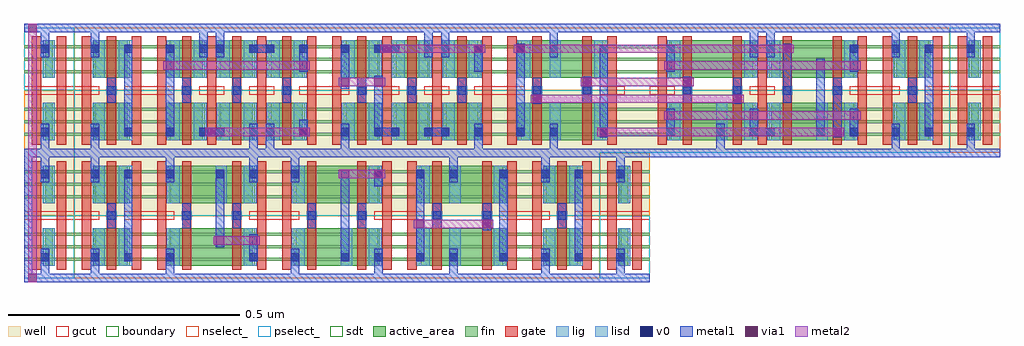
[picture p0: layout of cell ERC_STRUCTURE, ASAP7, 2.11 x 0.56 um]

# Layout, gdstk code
import gdstk
lib = gdstk.Library(unit=1e-6, precision=2.5e-10)
def R(c, l, rs):  # rectangles x0, y0, x1, y1
    for r in rs: c.add(gdstk.rectangle(r[:2], r[2:], *l))
def A(c, l, x, y, w, h, nx, ny, dx, dy):  # array of equal rectangles
    R(c, l, [(x+i*dx, y+j*dy, x+i*dx+w, y+j*dy+h) for i in range(nx) for j in range(ny)])
well = (1, 0)
fin = (2, 0)
gate = (7, 0)
gcut = (10, 0)
active_area = (11, 0)
nselect_ = (12, 0)
pselect_ = (13, 0)
lig = (16, 0)
lisd = (17, 0)
v0 = (18, 0)
metal1 = (19, 0)
metal2 = (20, 0)
via1 = (21, 0)
sdt = (88, 0)
boundary = (100, 0)

tap_a7s_75t_r = lib.new_cell('TAP_A7S_75t_R')
R(tap_a7s_75t_r, well, [(0,0.135,0.108,0.27)])
A(tap_a7s_75t_r, fin, 0, 0.037, 0.108, 0.007, 1, 3, 0, 0.027)
A(tap_a7s_75t_r, fin, 0, 0.172, 0.108, 0.007, 1, 3, 0, 0.027)
R(tap_a7s_75t_r, gate, [(0.017,0.018,0.037,0.252), (0.071,0.018,0.091,0.252)])
R(tap_a7s_75t_r, gcut, [(0,0.126,0.054,0.144), (0.054,0.126,0.108,0.144)])
R(tap_a7s_75t_r, active_area, [(0.046,0.027,0.062,0.108), (0.046,0.162,0.062,0.243)])
R(tap_a7s_75t_r, nselect_, [(0,0.135,0.108,0.27)])
R(tap_a7s_75t_r, pselect_, [(0,0,0.108,0.135)])
R(tap_a7s_75t_r, lisd, [(0.04,0.027,0.066,0.108), (0.04,0.162,0.066,0.243)])
R(tap_a7s_75t_r, v0, [(0.036,0.036,0.054,0.054), (0.036,0.216,0.054,0.234)])
R(tap_a7s_75t_r, metal1, [(0,-0.009,0.108,0.009), (0.036,0.009,0.054,0.063), (0.036,0.207,0.054,0.261), (0,0.261,0.108,0.279)])
R(tap_a7s_75t_r, sdt, [(0.042,0.027,0.066,0.108), (0.042,0.162,0.066,0.243)])
R(tap_a7s_75t_r, boundary, [(0,0,0.108,0.27)])
tap_a7s_75t_r.add(gdstk.Label('VSS', (0.027,0), layer=19, texttype=251))
tap_a7s_75t_r.add(gdstk.Label('VDD', (0.027,0.27), layer=19, texttype=251))

invx1_a7s_75t_r = lib.new_cell('INVx1_A7S_75t_R')
R(invx1_a7s_75t_r, well, [(0,0.135,0.162,0.27)])
A(invx1_a7s_75t_r, fin, 0, 0.037, 0.162, 0.007, 1, 3, 0, 0.027)
A(invx1_a7s_75t_r, fin, 0, 0.172, 0.162, 0.007, 1, 3, 0, 0.027)
A(invx1_a7s_75t_r, gate, 0.017, 0.018, 0.02, 0.234, 3, 1, 0.054, 0)
R(invx1_a7s_75t_r, gcut, [(0,0.126,0.054,0.144), (0.108,0.126,0.162,0.144)])
R(invx1_a7s_75t_r, active_area, [(0.046,0.027,0.116,0.108), (0.046,0.162,0.116,0.243)])
R(invx1_a7s_75t_r, nselect_, [(0,0,0.162,0.135)])
R(invx1_a7s_75t_r, pselect_, [(0,0.135,0.162,0.27)])
R(invx1_a7s_75t_r, lig, [(0.07,0.126,0.092,0.144)])
R(invx1_a7s_75t_r, lisd, [(0.04,0.027,0.066,0.108), (0.096,0.027,0.126,0.108), (0.04,0.162,0.066,0.243), (0.096,0.162,0.126,0.243)])
R(invx1_a7s_75t_r, v0, [(0.036,0.036,0.054,0.054), (0.108,0.036,0.126,0.054), (0.072,0.126,0.09,0.144), (0.036,0.216,0.054,0.234), (0.108,0.216,0.126,0.234)])
R(invx1_a7s_75t_r, metal1, [(0,-0.009,0.162,0.009), (0.036,0.009,0.054,0.063), (0.108,0.036,0.126,0.234), (0.072,0.108,0.09,0.162), (0.036,0.207,0.054,0.261), (0,0.261,0.162,0.279)])
R(invx1_a7s_75t_r, sdt, [(0.042,0.027,0.066,0.108), (0.096,0.027,0.12,0.108), (0.042,0.162,0.066,0.243), (0.096,0.162,0.12,0.243)])
R(invx1_a7s_75t_r, boundary, [(0,0,0.162,0.27)])
invx1_a7s_75t_r.add(gdstk.Label('VSS', (0.018,0), layer=19, texttype=251))
invx1_a7s_75t_r.add(gdstk.Label('VDD', (0.018,0.27), layer=19, texttype=251))
invx1_a7s_75t_r.add(gdstk.Label('A', (0.081,0.135), layer=19, texttype=251))
invx1_a7s_75t_r.add(gdstk.Label('Y', (0.117,0.135), layer=19, texttype=251))

nand2x1_a7s_75t_r = lib.new_cell('NAND2x1_A7S_75t_R')
R(nand2x1_a7s_75t_r, well, [(0,0.135,0.27,0.27)])
A(nand2x1_a7s_75t_r, fin, 0, 0.037, 0.27, 0.007, 1, 3, 0, 0.027)
A(nand2x1_a7s_75t_r, fin, 0, 0.172, 0.27, 0.007, 1, 3, 0, 0.027)
R(nand2x1_a7s_75t_r, gate, [(0.017,0.018,0.037,0.252), (0.071,0.018,0.091,0.252), (0.179,0.018,0.199,0.252), (0.233,0.018,0.253,0.252)])
R(nand2x1_a7s_75t_r, gcut, [(0,0.126,0.054,0.144), (0.216,0.126,0.27,0.144)])
R(nand2x1_a7s_75t_r, active_area, [(0.046,0.027,0.224,0.108), (0.046,0.162,0.224,0.243)])
R(nand2x1_a7s_75t_r, nselect_, [(0,0,0.27,0.135)])
R(nand2x1_a7s_75t_r, pselect_, [(0,0.135,0.27,0.27)])
R(nand2x1_a7s_75t_r, lig, [(0.07,0.126,0.092,0.144), (0.178,0.126,0.2,0.144)])
R(nand2x1_a7s_75t_r, lisd, [(0.038,0.027,0.066,0.108), (0.204,0.027,0.232,0.108), (0.038,0.162,0.066,0.243), (0.144,0.162,0.168,0.243), (0.204,0.162,0.232,0.243)])
R(nand2x1_a7s_75t_r, v0, [(0.036,0.036,0.054,0.054), (0.216,0.036,0.234,0.054), (0.072,0.126,0.09,0.144), (0.18,0.126,0.198,0.144), (0.036,0.216,0.054,0.234), (0.144,0.216,0.162,0.234), (0.216,0.216,0.234,0.234)])
R(nand2x1_a7s_75t_r, metal1, [(0,-0.009,0.27,0.009), (0.036,0.009,0.054,0.063), (0.216,0.036,0.234,0.095), (0.144,0.067,0.162,0.234), (0.072,0.108,0.09,0.162), (0.18,0.108,0.198,0.162), (0.036,0.207,0.054,0.261), (0.216,0.207,0.234,0.261), (0,0.261,0.27,0.279)])
R(nand2x1_a7s_75t_r, metal2, [(0.139,0.072,0.239,0.09)])
R(nand2x1_a7s_75t_r, via1, [(0.144,0.072,0.162,0.09), (0.216,0.072,0.234,0.09)])
R(nand2x1_a7s_75t_r, sdt, [(0.042,0.027,0.066,0.108), (0.204,0.027,0.228,0.108), (0.042,0.162,0.066,0.243), (0.144,0.162,0.168,0.243), (0.204,0.162,0.228,0.243)])
R(nand2x1_a7s_75t_r, boundary, [(0,0,0.27,0.27)])
nand2x1_a7s_75t_r.add(gdstk.Label('VSS', (0.018,0), layer=19, texttype=251))
nand2x1_a7s_75t_r.add(gdstk.Label('VDD', (0.018,0.27), layer=19, texttype=251))
nand2x1_a7s_75t_r.add(gdstk.Label('A', (0.081,0.135), layer=19, texttype=251))
nand2x1_a7s_75t_r.add(gdstk.Label('B', (0.189,0.135), layer=19, texttype=251))
nand2x1_a7s_75t_r.add(gdstk.Label('Y', (0.225,0.08), layer=19, texttype=251))

nor2x1_a7s_75t_r = lib.new_cell('NOR2x1_A7S_75t_R')
R(nor2x1_a7s_75t_r, well, [(0,0.135,0.27,0.27)])
A(nor2x1_a7s_75t_r, fin, 0, 0.037, 0.27, 0.007, 1, 3, 0, 0.027)
A(nor2x1_a7s_75t_r, fin, 0, 0.172, 0.27, 0.007, 1, 3, 0, 0.027)
R(nor2x1_a7s_75t_r, gate, [(0.017,0.018,0.037,0.252), (0.071,0.018,0.091,0.252), (0.179,0.018,0.199,0.252), (0.233,0.018,0.253,0.252)])
R(nor2x1_a7s_75t_r, gcut, [(0,0.126,0.054,0.144), (0.216,0.126,0.27,0.144)])
R(nor2x1_a7s_75t_r, active_area, [(0.046,0.027,0.224,0.108), (0.046,0.162,0.224,0.243)])
R(nor2x1_a7s_75t_r, nselect_, [(0,0,0.27,0.135)])
R(nor2x1_a7s_75t_r, pselect_, [(0,0.135,0.27,0.27)])
R(nor2x1_a7s_75t_r, lig, [(0.07,0.126,0.092,0.144), (0.178,0.126,0.2,0.144)])
R(nor2x1_a7s_75t_r, lisd, [(0.038,0.027,0.066,0.108), (0.144,0.027,0.168,0.108), (0.204,0.027,0.232,0.108), (0.038,0.162,0.066,0.243), (0.204,0.162,0.232,0.243)])
R(nor2x1_a7s_75t_r, v0, [(0.036,0.036,0.054,0.054), (0.144,0.036,0.162,0.054), (0.216,0.036,0.234,0.054), (0.072,0.126,0.09,0.144), (0.18,0.126,0.198,0.144), (0.036,0.216,0.054,0.234), (0.216,0.216,0.234,0.234)])
R(nor2x1_a7s_75t_r, metal1, [(0,-0.009,0.27,0.009), (0.036,0.009,0.054,0.063), (0.216,0.009,0.234,0.063), (0.144,0.036,0.162,0.234), (0.072,0.108,0.09,0.162), (0.18,0.108,0.198,0.162), (0.216,0.198,0.234,0.234), (0.036,0.207,0.054,0.261), (0,0.261,0.27,0.279)])
R(nor2x1_a7s_75t_r, metal2, [(0.139,0.216,0.239,0.234)])
R(nor2x1_a7s_75t_r, via1, [(0.144,0.216,0.162,0.234), (0.216,0.216,0.234,0.234)])
R(nor2x1_a7s_75t_r, sdt, [(0.042,0.027,0.066,0.108), (0.144,0.027,0.168,0.108), (0.204,0.027,0.228,0.108), (0.042,0.162,0.066,0.243), (0.204,0.162,0.228,0.243)])
R(nor2x1_a7s_75t_r, boundary, [(0,0,0.27,0.27)])
nor2x1_a7s_75t_r.add(gdstk.Label('VSS', (0.018,0), layer=19, texttype=251))
nor2x1_a7s_75t_r.add(gdstk.Label('VDD', (0.018,0.27), layer=19, texttype=251))
nor2x1_a7s_75t_r.add(gdstk.Label('A', (0.081,0.135), layer=19, texttype=251))
nor2x1_a7s_75t_r.add(gdstk.Label('B', (0.189,0.135), layer=19, texttype=251))
nor2x1_a7s_75t_r.add(gdstk.Label('Y', (0.225,0.202), layer=19, texttype=251))

bufx1_a7s_75t_r = lib.new_cell('BUFx1_A7S_75t_R')
R(bufx1_a7s_75t_r, well, [(0,0.135,0.27,0.27)])
A(bufx1_a7s_75t_r, fin, 0, 0.037, 0.27, 0.007, 1, 3, 0, 0.027)
A(bufx1_a7s_75t_r, fin, 0, 0.172, 0.27, 0.007, 1, 3, 0, 0.027)
R(bufx1_a7s_75t_r, gate, [(0.017,0.018,0.037,0.252), (0.071,0.018,0.091,0.252), (0.179,0.018,0.199,0.252), (0.233,0.018,0.253,0.252)])
R(bufx1_a7s_75t_r, gcut, [(0,0.126,0.054,0.144), (0.216,0.126,0.27,0.144)])
R(bufx1_a7s_75t_r, active_area, [(0.046,0.027,0.224,0.108), (0.046,0.162,0.224,0.243)])
R(bufx1_a7s_75t_r, nselect_, [(0,0,0.27,0.135)])
R(bufx1_a7s_75t_r, pselect_, [(0,0.135,0.27,0.27)])
R(bufx1_a7s_75t_r, lig, [(0.07,0.126,0.092,0.144), (0.178,0.126,0.2,0.144)])
R(bufx1_a7s_75t_r, lisd, [(0.038,0.027,0.066,0.108), (0.108,0.027,0.132,0.108), (0.204,0.027,0.232,0.108), (0.038,0.162,0.066,0.243), (0.108,0.162,0.132,0.243), (0.204,0.162,0.232,0.243)])
R(bufx1_a7s_75t_r, v0, [(0.036,0.036,0.054,0.054), (0.108,0.036,0.126,0.054), (0.216,0.036,0.234,0.054), (0.072,0.126,0.09,0.144), (0.18,0.126,0.198,0.144), (0.036,0.216,0.054,0.234), (0.108,0.216,0.126,0.234), (0.216,0.216,0.234,0.234)])
R(bufx1_a7s_75t_r, metal1, [(0,-0.009,0.27,0.009), (0.108,0.009,0.126,0.063), (0.036,0.036,0.054,0.234), (0.216,0.036,0.234,0.234), (0.18,0.103,0.198,0.162), (0.072,0.108,0.09,0.162), (0.108,0.207,0.126,0.261), (0,0.261,0.27,0.279)])
R(bufx1_a7s_75t_r, metal2, [(0.031,0.108,0.203,0.126)])
R(bufx1_a7s_75t_r, via1, [(0.036,0.108,0.054,0.126), (0.18,0.108,0.198,0.126), (0.18,0.108,0.198,0.126)])
R(bufx1_a7s_75t_r, sdt, [(0.042,0.027,0.066,0.108), (0.108,0.027,0.132,0.108), (0.204,0.027,0.228,0.108), (0.042,0.162,0.066,0.243), (0.108,0.162,0.132,0.243), (0.204,0.162,0.228,0.243)])
R(bufx1_a7s_75t_r, boundary, [(0,0,0.27,0.27)])
bufx1_a7s_75t_r.add(gdstk.Label('VSS', (0.018,0), layer=19, texttype=251))
bufx1_a7s_75t_r.add(gdstk.Label('VDD', (0.018,0.27), layer=19, texttype=251))
bufx1_a7s_75t_r.add(gdstk.Label('A', (0.081,0.135), layer=19, texttype=251))
bufx1_a7s_75t_r.add(gdstk.Label('Y', (0.225,0.135), layer=19, texttype=251))

aoi21x1_a7s_75t_r = lib.new_cell('AOI21x1_A7S_75t_R')
R(aoi21x1_a7s_75t_r, well, [(0,0.135,0.378,0.27)])
A(aoi21x1_a7s_75t_r, fin, 0, 0.037, 0.378, 0.007, 1, 3, 0, 0.027)
A(aoi21x1_a7s_75t_r, fin, 0, 0.172, 0.378, 0.007, 1, 3, 0, 0.027)
A(aoi21x1_a7s_75t_r, gate, 0.017, 0.018, 0.02, 0.234, 7, 1, 0.054, 0)
A(aoi21x1_a7s_75t_r, gcut, 0, 0.126, 0.054, 0.018, 4, 1, 0.108, 0)
A(aoi21x1_a7s_75t_r, active_area, 0.046, 0.027, 0.07, 0.081, 3, 2, 0.108, 0.135)
R(aoi21x1_a7s_75t_r, nselect_, [(0,0,0.378,0.135)])
R(aoi21x1_a7s_75t_r, pselect_, [(0,0.135,0.378,0.27)])
A(aoi21x1_a7s_75t_r, lig, 0.07, 0.126, 0.022, 0.018, 3, 1, 0.108, 0)
R(aoi21x1_a7s_75t_r, lisd, [(0.038,0.027,0.066,0.108), (0.096,0.027,0.124,0.108), (0.146,0.027,0.174,0.108), (0.204,0.027,0.232,0.108), (0.254,0.027,0.282,0.108), (0.312,0.027,0.34,0.108), (0.038,0.162,0.066,0.243), (0.096,0.162,0.124,0.243), (0.146,0.162,0.174,0.243), (0.204,0.162,0.232,0.243), (0.254,0.162,0.282,0.243), (0.312,0.162,0.34,0.243)])
A(aoi21x1_a7s_75t_r, v0, 0.072, 0.126, 0.018, 0.018, 3, 1, 0.108, 0)
R(aoi21x1_a7s_75t_r, v0, [(0.036,0.036,0.054,0.054), (0.108,0.036,0.126,0.054), (0.144,0.036,0.162,0.054), (0.216,0.036,0.234,0.054), (0.252,0.036,0.27,0.054), (0.324,0.036,0.342,0.054), (0.036,0.216,0.054,0.234), (0.108,0.216,0.126,0.234), (0.144,0.216,0.162,0.234), (0.216,0.216,0.234,0.234), (0.252,0.216,0.27,0.234), (0.324,0.216,0.342,0.234)])
A(aoi21x1_a7s_75t_r, metal1, 0.072, 0.108, 0.018, 0.054, 3, 1, 0.108, 0)
R(aoi21x1_a7s_75t_r, metal1, [(0,-0.009,0.378,0.009), (0.108,0.009,0.126,0.063), (0.144,0.009,0.162,0.063), (0.036,0.036,0.054,0.234), (0.216,0.036,0.27,0.054), (0.324,0.036,0.342,0.095), (0.324,0.198,0.342,0.234), (0.216,0.207,0.234,0.261), (0.252,0.207,0.27,0.261), (0.108,0.216,0.162,0.234), (0,0.261,0.378,0.279)])
R(aoi21x1_a7s_75t_r, metal2, [(0.031,0.072,0.347,0.09), (0.121,0.216,0.347,0.234)])
R(aoi21x1_a7s_75t_r, via1, [(0.036,0.072,0.054,0.09), (0.324,0.072,0.342,0.09), (0.126,0.216,0.144,0.234), (0.324,0.216,0.342,0.234)])
A(aoi21x1_a7s_75t_r, sdt, 0.042, 0.027, 0.024, 0.081, 6, 2, 0.054, 0.135)
R(aoi21x1_a7s_75t_r, boundary, [(0,0,0.378,0.27)])
aoi21x1_a7s_75t_r.add(gdstk.Label('VSS', (0.018,0), layer=19, texttype=251))
aoi21x1_a7s_75t_r.add(gdstk.Label('VDD', (0.018,0.27), layer=19, texttype=251))
aoi21x1_a7s_75t_r.add(gdstk.Label('B', (0.081,0.135), layer=19, texttype=251))
aoi21x1_a7s_75t_r.add(gdstk.Label('A1', (0.189,0.135), layer=19, texttype=251))
aoi21x1_a7s_75t_r.add(gdstk.Label('A2', (0.297,0.135), layer=19, texttype=251))
aoi21x1_a7s_75t_r.add(gdstk.Label('Y', (0.045,0.135), layer=19, texttype=251))

oai21x1_a7s_75t_r = lib.new_cell('OAI21x1_A7S_75t_R')
R(oai21x1_a7s_75t_r, well, [(0,0.135,0.378,0.27)])
A(oai21x1_a7s_75t_r, fin, 0, 0.037, 0.378, 0.007, 1, 3, 0, 0.027)
A(oai21x1_a7s_75t_r, fin, 0, 0.172, 0.378, 0.007, 1, 3, 0, 0.027)
A(oai21x1_a7s_75t_r, gate, 0.017, 0.018, 0.02, 0.234, 7, 1, 0.054, 0)
A(oai21x1_a7s_75t_r, gcut, 0, 0.126, 0.054, 0.018, 4, 1, 0.108, 0)
A(oai21x1_a7s_75t_r, active_area, 0.046, 0.027, 0.07, 0.081, 3, 2, 0.108, 0.135)
R(oai21x1_a7s_75t_r, nselect_, [(0,0,0.378,0.135)])
R(oai21x1_a7s_75t_r, pselect_, [(0,0.135,0.378,0.27)])
A(oai21x1_a7s_75t_r, lig, 0.07, 0.126, 0.022, 0.018, 3, 1, 0.108, 0)
R(oai21x1_a7s_75t_r, lisd, [(0.038,0.027,0.066,0.108), (0.096,0.027,0.124,0.108), (0.146,0.027,0.174,0.108), (0.204,0.027,0.232,0.108), (0.254,0.027,0.282,0.108), (0.312,0.027,0.34,0.108), (0.038,0.162,0.066,0.243), (0.096,0.162,0.124,0.243), (0.146,0.162,0.174,0.243), (0.204,0.162,0.232,0.243), (0.254,0.162,0.282,0.243), (0.312,0.162,0.34,0.243)])
A(oai21x1_a7s_75t_r, v0, 0.072, 0.126, 0.018, 0.018, 3, 1, 0.108, 0)
R(oai21x1_a7s_75t_r, v0, [(0.036,0.036,0.054,0.054), (0.108,0.036,0.126,0.054), (0.144,0.036,0.162,0.054), (0.216,0.036,0.234,0.054), (0.252,0.036,0.27,0.054), (0.324,0.036,0.342,0.054), (0.036,0.216,0.054,0.234), (0.108,0.216,0.126,0.234), (0.144,0.216,0.162,0.234), (0.216,0.216,0.234,0.234), (0.252,0.216,0.27,0.234), (0.324,0.216,0.342,0.234)])
A(oai21x1_a7s_75t_r, metal1, 0.072, 0.108, 0.018, 0.054, 3, 1, 0.108, 0)
R(oai21x1_a7s_75t_r, metal1, [(0,-0.009,0.378,0.009), (0.216,0.009,0.234,0.063), (0.252,0.009,0.27,0.063), (0.036,0.036,0.054,0.131), (0.108,0.036,0.162,0.054), (0.324,0.036,0.342,0.095), (0.108,0.103,0.126,0.234), (0.036,0.207,0.054,0.261), (0.324,0.207,0.342,0.261), (0.108,0.216,0.162,0.234), (0.216,0.216,0.27,0.234), (0,0.261,0.378,0.279)])
R(oai21x1_a7s_75t_r, metal2, [(0.121,0.036,0.347,0.054), (0.031,0.108,0.131,0.126)])
R(oai21x1_a7s_75t_r, via1, [(0.126,0.036,0.144,0.054), (0.324,0.036,0.342,0.054), (0.036,0.108,0.054,0.126), (0.108,0.108,0.126,0.126)])
A(oai21x1_a7s_75t_r, sdt, 0.042, 0.027, 0.024, 0.081, 6, 2, 0.054, 0.135)
R(oai21x1_a7s_75t_r, boundary, [(0,0,0.378,0.27)])
oai21x1_a7s_75t_r.add(gdstk.Label('VSS', (0.018,0), layer=19, texttype=251))
oai21x1_a7s_75t_r.add(gdstk.Label('VDD', (0.018,0.27), layer=19, texttype=251))
oai21x1_a7s_75t_r.add(gdstk.Label('B', (0.081,0.135), layer=19, texttype=251))
oai21x1_a7s_75t_r.add(gdstk.Label('A1', (0.189,0.135), layer=19, texttype=251))
oai21x1_a7s_75t_r.add(gdstk.Label('A2', (0.297,0.135), layer=19, texttype=251))
oai21x1_a7s_75t_r.add(gdstk.Label('Y', (0.045,0.09), layer=19, texttype=251))

xor2x1_a7s_75t_r = lib.new_cell('XOR2x1_A7S_75t_R')
R(xor2x1_a7s_75t_r, well, [(0,0.135,0.81,0.27)])
A(xor2x1_a7s_75t_r, fin, 0, 0.037, 0.81, 0.007, 1, 3, 0, 0.027)
A(xor2x1_a7s_75t_r, fin, 0, 0.172, 0.81, 0.007, 1, 3, 0, 0.027)
A(xor2x1_a7s_75t_r, gate, 0.503, 0.018, 0.02, 0.234, 3, 1, 0.054, 0)
R(xor2x1_a7s_75t_r, gate, [(0.017,0.018,0.037,0.252), (0.071,0.018,0.091,0.252), (0.179,0.018,0.199,0.252), (0.233,0.018,0.253,0.252), (0.341,0.018,0.361,0.252), (0.395,0.018,0.415,0.252), (0.719,0.018,0.739,0.252), (0.773,0.018,0.793,0.252)])
A(xor2x1_a7s_75t_r, gcut, 0.324, 0.126, 0.054, 0.018, 3, 1, 0.216, 0)
R(xor2x1_a7s_75t_r, gcut, [(0,0.126,0.054,0.144), (0.216,0.126,0.27,0.144)])
R(xor2x1_a7s_75t_r, active_area, [(0.046,0.027,0.224,0.108), (0.37,0.027,0.548,0.108), (0.586,0.027,0.764,0.108), (0.046,0.162,0.224,0.243), (0.37,0.162,0.548,0.243), (0.586,0.162,0.764,0.243)])
R(xor2x1_a7s_75t_r, nselect_, [(0,0,0.81,0.135)])
R(xor2x1_a7s_75t_r, pselect_, [(0,0.135,0.81,0.27)])
A(xor2x1_a7s_75t_r, lig, 0.394, 0.126, 0.022, 0.018, 4, 1, 0.108, 0)
R(xor2x1_a7s_75t_r, lig, [(0.07,0.126,0.092,0.144), (0.178,0.126,0.2,0.144)])
R(xor2x1_a7s_75t_r, lisd, [(0.038,0.027,0.066,0.108), (0.108,0.027,0.132,0.108), (0.204,0.027,0.232,0.108), (0.362,0.027,0.39,0.108), (0.528,0.027,0.556,0.108), (0.578,0.027,0.606,0.108), (0.744,0.027,0.772,0.108), (0.038,0.162,0.066,0.243), (0.108,0.162,0.132,0.243), (0.204,0.162,0.232,0.243), (0.362,0.162,0.39,0.243), (0.468,0.162,0.492,0.243), (0.528,0.162,0.556,0.243), (0.578,0.162,0.606,0.243), (0.684,0.162,0.708,0.243), (0.744,0.162,0.772,0.243)])
A(xor2x1_a7s_75t_r, v0, 0.396, 0.126, 0.018, 0.018, 4, 1, 0.108, 0)
R(xor2x1_a7s_75t_r, v0, [(0.036,0.036,0.054,0.054), (0.108,0.036,0.126,0.054), (0.216,0.036,0.234,0.054), (0.36,0.036,0.378,0.054), (0.54,0.036,0.558,0.054), (0.576,0.036,0.594,0.054), (0.756,0.036,0.774,0.054), (0.072,0.126,0.09,0.144), (0.18,0.126,0.198,0.144), (0.036,0.216,0.054,0.234), (0.108,0.216,0.126,0.234), (0.216,0.216,0.234,0.234), (0.36,0.216,0.378,0.234), (0.468,0.216,0.486,0.234), (0.54,0.216,0.558,0.234), (0.576,0.216,0.594,0.234), (0.684,0.216,0.702,0.234), (0.756,0.216,0.774,0.234)])
A(xor2x1_a7s_75t_r, metal1, 0.396, 0.108, 0.018, 0.054, 4, 1, 0.108, 0)
R(xor2x1_a7s_75t_r, metal1, [(0,-0.009,0.81,0.009), (0.108,0.009,0.126,0.063), (0.54,0.009,0.558,0.063), (0.576,0.009,0.594,0.063), (0.036,0.034,0.054,0.234), (0.612,0.034,0.63,0.162), (0.216,0.036,0.234,0.236), (0.36,0.036,0.378,0.095), (0.756,0.036,0.774,0.095), (0.684,0.067,0.702,0.234), (0.18,0.106,0.198,0.162), (0.396,0.106,0.414,0.162), (0.072,0.108,0.09,0.162), (0.072,0.108,0.09,0.164), (0.18,0.108,0.198,0.162), (0.504,0.108,0.522,0.164), (0.72,0.108,0.738,0.236), (0.36,0.175,0.378,0.234), (0.54,0.175,0.558,0.234), (0.756,0.175,0.774,0.234), (0.108,0.207,0.126,0.261), (0.468,0.207,0.486,0.261), (0.54,0.216,0.594,0.234), (0,0.261,0.81,0.279)])
R(xor2x1_a7s_75t_r, metal2, [(0.031,0.036,0.635,0.054), (0.355,0.072,0.779,0.09), (0.175,0.108,0.419,0.126), (0.067,0.144,0.527,0.162), (0.355,0.18,0.779,0.198), (0.211,0.216,0.743,0.234)])
R(xor2x1_a7s_75t_r, via1, [(0.036,0.036,0.054,0.054), (0.612,0.036,0.63,0.054), (0.612,0.036,0.63,0.054), (0.36,0.072,0.378,0.09), (0.684,0.072,0.702,0.09), (0.756,0.072,0.774,0.09), (0.18,0.108,0.198,0.126), (0.18,0.108,0.198,0.126), (0.396,0.108,0.414,0.126), (0.396,0.108,0.414,0.126), (0.072,0.144,0.09,0.162), (0.072,0.144,0.09,0.162), (0.504,0.144,0.522,0.162), (0.504,0.144,0.522,0.162), (0.36,0.18,0.378,0.198), (0.54,0.18,0.558,0.198), (0.756,0.18,0.774,0.198), (0.216,0.216,0.234,0.234), (0.72,0.216,0.738,0.234), (0.72,0.216,0.738,0.234)])
A(xor2x1_a7s_75t_r, sdt, 0.204, 0.027, 0.024, 0.081, 3, 1, 0.162, 0)
R(xor2x1_a7s_75t_r, sdt, [(0.042,0.027,0.066,0.108), (0.108,0.027,0.132,0.108), (0.582,0.027,0.606,0.108), (0.744,0.027,0.768,0.108), (0.042,0.162,0.066,0.243), (0.108,0.162,0.132,0.243), (0.204,0.162,0.228,0.243), (0.366,0.162,0.39,0.243), (0.468,0.162,0.492,0.243), (0.528,0.162,0.552,0.243), (0.582,0.162,0.606,0.243), (0.684,0.162,0.708,0.243), (0.744,0.162,0.768,0.243)])
R(xor2x1_a7s_75t_r, boundary, [(0,0,0.81,0.27)])
xor2x1_a7s_75t_r.add(gdstk.Label('VSS', (0.018,0), layer=19, texttype=251))
xor2x1_a7s_75t_r.add(gdstk.Label('VDD', (0.018,0.27), layer=19, texttype=251))
xor2x1_a7s_75t_r.add(gdstk.Label('B', (0.081,0.135), layer=19, texttype=251))
xor2x1_a7s_75t_r.add(gdstk.Label('A', (0.189,0.135), layer=19, texttype=251))
xor2x1_a7s_75t_r.add(gdstk.Label('Y', (0.369,0.09), layer=19, texttype=251))

erc_structure = lib.new_cell('ERC_STRUCTURE')
R(erc_structure, metal1, [(0,-0.009,0.018,0.279)])
R(erc_structure, metal2, [(0.009,-0.009,0.027,0.549)])
R(erc_structure, via1, [(0.009,-0.009,0.027,0.009), (0.009,0.531,0.027,0.549)])
erc_structure.add(gdstk.Reference(tap_a7s_75t_r, (0,0)))
erc_structure.add(gdstk.Reference(invx1_a7s_75t_r, (0.108,0)))
erc_structure.add(gdstk.Reference(nand2x1_a7s_75t_r, (0.27,0)))
erc_structure.add(gdstk.Reference(nor2x1_a7s_75t_r, (0.54,0)))
erc_structure.add(gdstk.Reference(bufx1_a7s_75t_r, (0.81,0)))
erc_structure.add(gdstk.Reference(invx1_a7s_75t_r, (1.08,0)))
erc_structure.add(gdstk.Reference(tap_a7s_75t_r, (1.242,0)))
erc_structure.add(gdstk.Reference(tap_a7s_75t_r, (0,0.54), x_reflection=True))
erc_structure.add(gdstk.Reference(invx1_a7s_75t_r, (0.108,0.54), x_reflection=True))
erc_structure.add(gdstk.Reference(aoi21x1_a7s_75t_r, (0.27,0.54), x_reflection=True))
erc_structure.add(gdstk.Reference(oai21x1_a7s_75t_r, (0.648,0.54), x_reflection=True))
erc_structure.add(gdstk.Reference(xor2x1_a7s_75t_r, (1.026,0.54), x_reflection=True))
erc_structure.add(gdstk.Reference(invx1_a7s_75t_r, (1.836,0.54), x_reflection=True))
erc_structure.add(gdstk.Reference(tap_a7s_75t_r, (1.998,0.54), x_reflection=True))

lib.write_gds('ERC_STRUCTURE.gds')
